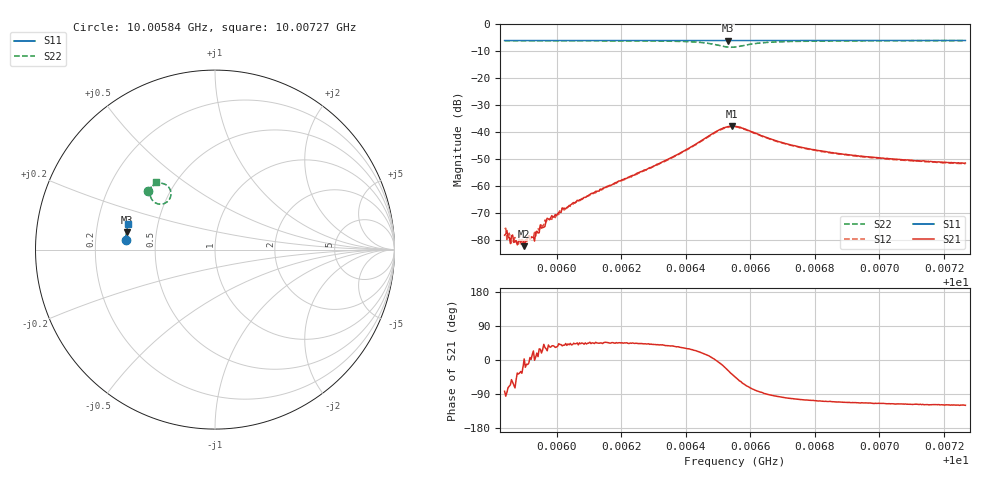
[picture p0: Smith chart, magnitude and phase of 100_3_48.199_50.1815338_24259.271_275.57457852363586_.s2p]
#  HZ  S  RI  R  50.00
! Rohde & Schwarz Vector Network Analyzer
! Rohde-Schwarz,ZNB20-2Port,1311601062101988,3.16
! Created: UTC 3/20/2024, 11:40:34 AM
! freq[Hz]  re:S11  im:S11  re:S21  im:S21  re:S12  im:S12  re:S22  im:S22
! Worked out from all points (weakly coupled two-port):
!   401 points, 10.00584 GHz to 10.00727 GHz, reference 50 ohm
!   highest |S21| = -37.76 dB at 10.00654 GHz (marker M1); lowest = -82.4 dB at 10.0059 GHz (marker M2)
!   lowest |S11| = -6.0 dB at 10.00653 GHz (marker M3), VSWR 3.01, Z = 16.8 + j4.31 ohm
!   |S11| at or under -10 dB: nowhere
!   |S22| runs from -8.5 to -6.0 dB; largest |S21 - S12| = 0.00097
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1.0005838e10  -0.4986 0.0521  1.56e-05 -0.000121  2.25e-05 -0.000159  -0.3747 0.3278
1.0005853e10  -0.4984 0.053  3.97e-05 -0.000105  5.42e-05 -0.000121  -0.3739 0.3287
1.0005863e10  -0.4984 0.0536  6.34e-05 -0.000105  4.3e-05 -7.72e-05  -0.3733 0.3293
1.0005874e10  -0.4984 0.0544  5.92e-05 -7.61e-05  5.05e-05 -7.37e-05  -0.3729 0.33
1.0005899e10  -0.4983 0.0561  7.6e-05 3.73e-06  7.64e-05 -2.02e-05  -0.3714 0.3319
1.0005924e10  -0.498 0.0576  0.000107 2.78e-05  0.000109 2.04e-05  -0.3701 0.3333
1.0005956e10  -0.4978 0.0598  0.00015 7.53e-05  0.000163 6.99e-05  -0.368 0.3354
1.0005977e10  -0.4977 0.0612  0.000193 0.000134  0.000195 0.000145  -0.3669 0.337
1.0005999e10  -0.4977 0.0625  0.000232 0.000158  0.000239 0.000197  -0.3656 0.3384
1.0006017e10  -0.4975 0.0638  0.000311 0.000236  0.000293 0.000243  -0.3644 0.3395
1.0006077e10  -0.4971 0.0677  0.000397 0.000396  0.000404 0.000419  -0.3601 0.344
1.0006317e10  -0.4952 0.0833  0.002 0.00166  0.00186 0.00173  -0.3321 0.364
1.0006456e10  -0.4933 0.0924  0.00711 0.00215  0.00683 0.00243  -0.2768 0.3632
1.0006502e10  -0.4924 0.0951  0.0109 -0.00123  0.0107 -0.000588  -0.2469 0.3253
1.0006531e10  -0.4919 0.0964  0.0112 -0.00586  0.0111 -0.0051  -0.2529 0.2821
1.0006541e10  -0.4919 0.0968  0.0104 -0.0077  0.0105 -0.00685  -0.2642 0.2681
1.0006552e10  -0.4919 0.0974  0.00914 -0.00887  0.00931 -0.00825  -0.279 0.2584
1.0006631e10  -0.492 0.1021  0.000795 -0.00864  0.00121 -0.00856  -0.354 0.2825
1.0006709e10  -0.4912 0.1073  -0.00105 -0.00605  -0.000756 -0.00599  -0.3617 0.3159
1.0006791e10  -0.4902 0.1127  -0.00135 -0.00454  -0.00112 -0.00454  -0.358 0.3348
1.0007031e10  -0.4871 0.128  -0.00137 -0.0029  -0.00121 -0.00287  -0.3428 0.3611
1.0007266e10  -0.4835 0.1428  -0.00131 -0.00232  -0.00116 -0.00232  -0.3295 0.3766
